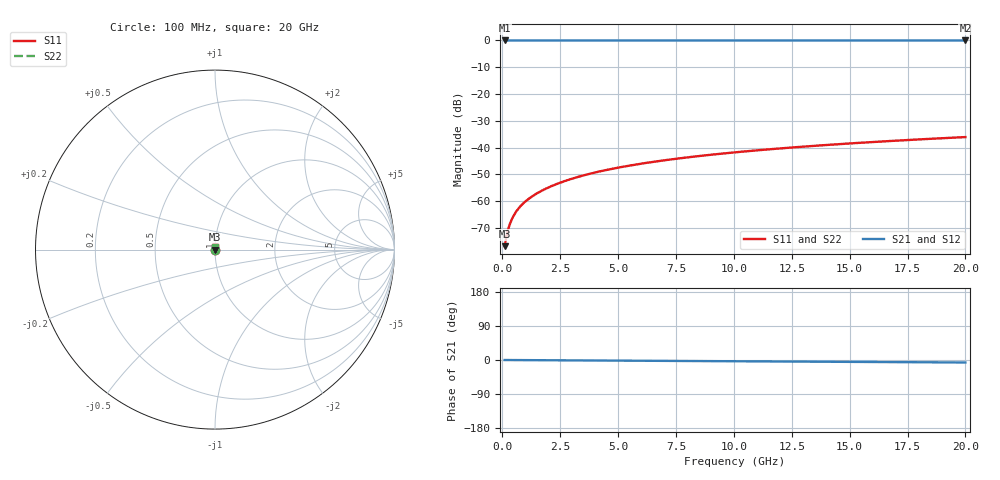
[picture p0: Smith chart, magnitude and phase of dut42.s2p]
! Touchstone file exported from HFSS 2026.1.0
!  File:  C:/ffzhzh/LocalFiles/Ansys_Project_Files/temp_train_TSV_42_1782958600_45748.aedt
!  Generated:  10:18:03 AM Jul  2, 2026
!  Design:  TSV
!  Project:  temp_train_TSV_42_1782958600_45748
! Variables:
!  h_bsmrdl = 2um
!  h_ox = 20um
!  h_rdl = 5um
!  h_sub = 60.77um
!  h_tmrdl = 5um
!  h_tsv = 60.77um
!  h_via = 3um
!  l_bsmrdl = 300um
!  l_sub = 421.76um
!  l_tmrdl = 200um
!  m_sub = 200um
!  pitch = 50.33um
!  r_tsv = 10.88um
!  s_tmrdl = 10um
!  w_bsmrdl = 18um
!  w_sub = 500um
!  w_tmrdl = 12um
!  x_tsv_center1 = 206um
!  x_tsv_center2 = 524um
!  x_tsv_center3 = 736um
!  x_tsv_center4 = 1054um
!  x_tsv_center5 = 1266um
!  x_tsv_center6 = 1584um
# GHz S MA R 50.000000
! Terminal data exported
! Port[1] = TSV1_1_T1
! Port[2] = TSV1_1_T2
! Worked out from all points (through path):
!   200 points, 100 MHz to 20 GHz, reference 50 ohm
!   highest |S21| = 0.00 dB at 100 MHz (marker M1); lowest = 0.0 dB at 20 GHz (marker M2)
!   lowest |S11| = -76.8 dB at 100 MHz (marker M3), VSWR 1.00, Z = 50 + j0.0111 ohm
!   |S11| at or under -10 dB: start of sweep to end of sweep
!   |S22| runs from -76.8 to -36.1 dB; largest |S21 - S12| = 4.3e-15
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0.1  0.0001437 50.6  0.9999 -0.0  0.9999 -0.0  0.0001437 50.6
! Gamma 0 0 0 0
! Port Impedance 50 0 50 0
0.2  0.000242 65.4  0.9999 -0.1  0.9999 -0.1  0.000242 65.4
0.3  0.0003449 70.6  0.9999 -0.1  0.9999 -0.1  0.0003449 70.6
0.4  0.0004458 72.8  0.9999 -0.1  0.9999 -0.1  0.0004458 72.8
0.5  0.0005431 74.0  0.9999 -0.2  0.9999 -0.2  0.0005431 74.0
0.6  0.0006368 74.7  0.9998 -0.2  0.9998 -0.2  0.0006368 74.7
0.7  0.0007272 75.2  0.9998 -0.2  0.9998 -0.2  0.0007272 75.2
0.9  0.0009006 76.0  0.9998 -0.3  0.9998 -0.3  0.0009006 76.0
1.1  0.001068 76.7  0.9998 -0.4  0.9998 -0.4  0.001068 76.7
1.3  0.001232 77.4  0.9997 -0.4  0.9997 -0.4  0.001232 77.4
1.6  0.001476 78.4  0.9997 -0.5  0.9997 -0.5  0.001476 78.4
1.9  0.001719 79.1  0.9997 -0.6  0.9997 -0.6  0.001719 79.1
2.6  0.002286 80.4  0.9996 -0.9  0.9996 -0.9  0.002286 80.4
3.5  0.003012 81.3  0.9996 -1.2  0.9996 -1.2  0.003012 81.3
4.2  0.003572 81.6  0.9996 -1.4  0.9996 -1.4  0.003572 81.6
5  0.004208 81.9  0.9995 -1.7  0.9995 -1.7  0.004208 81.9
6.8  0.00562 82.1  0.9994 -2.3  0.9994 -2.3  0.00562 82.1
8.3  0.006784 82.0  0.9994 -2.7  0.9994 -2.7  0.006784 82.0
10.1  0.008172 81.9  0.9993 -3.3  0.9993 -3.3  0.008172 81.9
13.4  0.0107 81.4  0.9992 -4.4  0.9992 -4.4  0.0107 81.4
16.7  0.0132 80.7  0.999 -5.5  0.999 -5.5  0.0132 80.7
20  0.01568 79.9  0.9989 -6.6  0.9989 -6.6  0.01568 79.9
